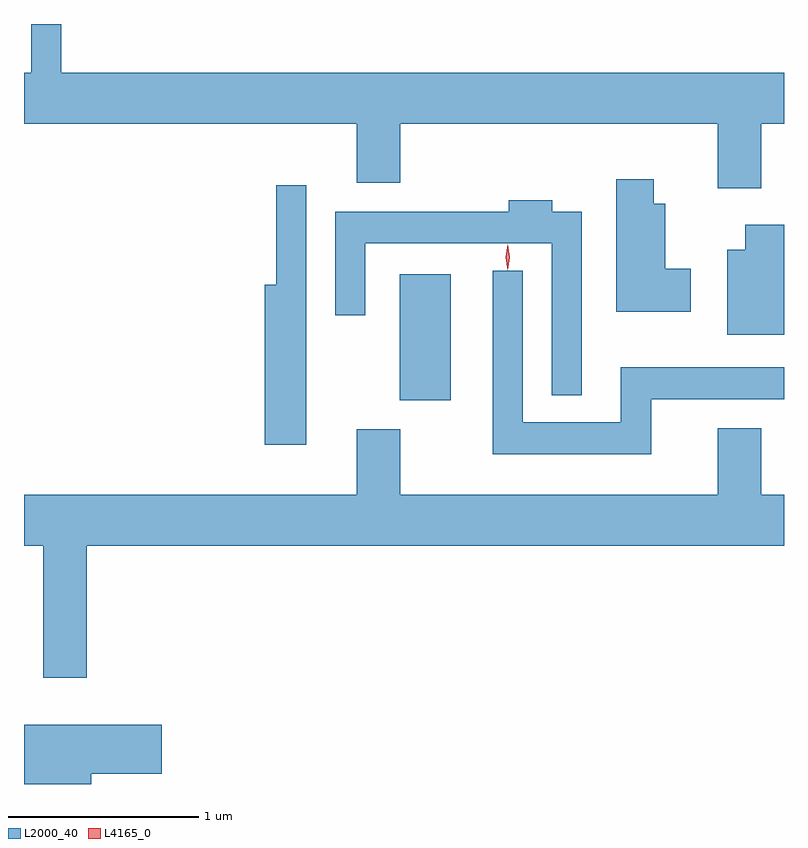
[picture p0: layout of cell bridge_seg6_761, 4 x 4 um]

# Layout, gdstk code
import gdstk
lib = gdstk.Library(unit=1e-6, precision=1e-09)
def R(c, l, rs):  # rectangles x0, y0, x1, y1
    for r in rs: c.add(gdstk.rectangle(r[:2], r[2:], *l))
def P(c, l, *ps):  # polygons
    for p in ps: c.add(gdstk.Polygon(p, *l))
L2000_40 = (2000, 40)
L4165_0 = (4165, 0)

bridge_seg6_761 = lib.new_cell('bridge_seg6_761')
R(bridge_seg6_761, L2000_40, [(509.046,1537.481,509.314,1538.144)])
P(bridge_seg6_761, L2000_40, [(510.949,1538.936),(511.069,1538.936),(511.069,1539.204),(507.264,1539.204),(507.264,1539.461),(507.106,1539.461),(507.106,1539.204),(507.069,1539.204),(507.069,1538.936),(508.821,1538.936),(508.821,1538.626),(509.049,1538.626),(509.049,1538.936),(510.721,1538.936),(510.721,1538.596),(510.949,1538.596)],
  [(510.579,1538.174),(510.444,1538.174),(510.444,1538.514),(510.384,1538.514),(510.384,1538.644),(510.186,1538.644),(510.186,1537.946),(510.579,1537.946)],
  [(508.554,1538.613),(508.396,1538.613),(508.396,1538.089),(508.336,1538.089),(508.336,1537.246),(508.554,1537.246)],
  [(510.004,1538.474),(509.849,1538.474),(509.849,1538.534),(509.621,1538.534),(509.621,1538.474),(508.706,1538.474),(508.706,1537.928),(508.864,1537.928),(508.864,1538.306),(509.846,1538.306),(509.846,1537.508),(510.004,1537.508)],
  [(511.069,1538.404),(510.866,1538.404),(510.866,1538.274),(510.771,1538.274),(510.771,1537.826),(511.069,1537.826)],
  [(510.369,1537.486),(511.069,1537.486),(511.069,1537.654),(510.211,1537.654),(510.211,1537.364),(509.694,1537.364),(509.694,1538.163),(509.536,1538.163),(509.536,1537.196),(510.369,1537.196)],
  [(507.399,1536.716),(511.069,1536.716),(511.069,1536.984),(510.949,1536.984),(510.949,1537.334),(510.721,1537.334),(510.721,1536.984),(509.049,1536.984),(509.049,1537.329),(508.821,1537.329),(508.821,1536.984),(507.069,1536.984),(507.069,1536.716),(507.171,1536.716),(507.171,1536.021),(507.399,1536.021)],
  [(507.424,1535.516),(507.794,1535.516),(507.794,1535.774),(507.069,1535.774),(507.069,1535.461),(507.424,1535.461)])
P(bridge_seg6_761, L4165_0, [(509.614,1538.164),(509.605,1538.233),(509.614,1538.302),(509.615,1538.303),(509.615,1538.302),(509.625,1538.233),(509.615,1538.164),(509.615,1538.164)],
  [(509.614,1538.167),(509.605,1538.234),(509.614,1538.3),(509.615,1538.3),(509.615,1538.3),(509.625,1538.234),(509.615,1538.167),(509.615,1538.167)])

lib.write_gds('bridge_seg6_761.gds')
